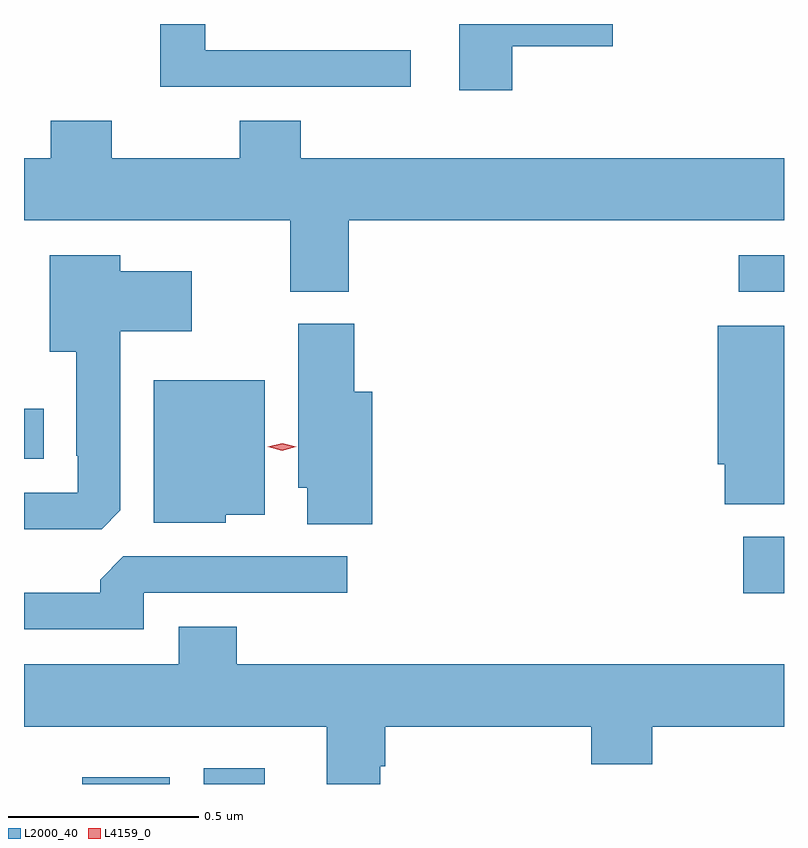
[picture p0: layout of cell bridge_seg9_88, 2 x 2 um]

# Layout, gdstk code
import gdstk
lib = gdstk.Library(unit=1e-6, precision=1e-09)
def R(c, l, rs):  # rectangles x0, y0, x1, y1
    for r in rs: c.add(gdstk.rectangle(r[:2], r[2:], *l))
def P(c, l, *ps):  # polygons
    for p in ps: c.add(gdstk.Polygon(p, *l))
L2000_40 = (2000, 40)
L4159_0 = (4159, 0)

bridge_seg9_88 = lib.new_cell('bridge_seg9_88')
R(bridge_seg9_88, L2000_40, [(816.795,1229.569,817.026,1229.587), (817.115,1229.569,817.276,1229.611), (818.535,1230.071,818.642,1230.22), (816.642,1230.425,816.694,1230.556), (818.523,1230.864,818.642,1230.96)])
P(bridge_seg9_88, L2000_40, [(817.66,1231.5),(817.119,1231.5),(817.119,1231.569),(817,1231.569),(817,1231.404),(817.66,1231.404)],
  [(817.927,1231.51),(818.191,1231.51),(818.191,1231.569),(817.787,1231.569),(817.787,1231.395),(817.927,1231.395)],
  [(817.496,1231.052),(818.642,1231.052),(818.642,1231.216),(817.37,1231.216),(817.37,1231.315),(817.21,1231.315),(817.21,1231.216),(816.873,1231.216),(816.873,1231.315),(816.713,1231.315),(816.713,1231.216),(816.642,1231.216),(816.642,1231.052),(817.343,1231.052),(817.343,1230.865),(817.496,1230.865)],
  [(816.895,1230.289),(816.895,1230.761),(817.084,1230.761),(817.084,1230.919),(816.895,1230.919),(816.895,1230.961),(816.71,1230.961),(816.71,1230.707),(816.779,1230.707),(816.779,1230.433),(816.783,1230.433),(816.783,1230.336),(816.642,1230.336),(816.642,1230.24),(816.846,1230.24)],
  [(817.559,1230.601),(817.511,1230.601),(817.511,1230.78),(817.364,1230.78),(817.364,1230.348),(817.388,1230.348),(817.388,1230.253),(817.559,1230.253)],
  [(818.642,1230.775),(818.468,1230.775),(818.468,1230.411),(818.486,1230.411),(818.486,1230.305),(818.642,1230.305)],
  [(817.173,1230.278),(817.276,1230.278),(817.276,1230.631),(816.983,1230.631),(816.983,1230.257),(817.173,1230.257)],
  [(816.957,1230.072),(817.492,1230.072),(817.492,1230.168),(816.903,1230.168),(816.842,1230.106),(816.842,1230.072),(816.642,1230.072),(816.642,1229.976),(816.957,1229.976)],
  [(817.579,1229.616),(817.592,1229.616),(817.592,1229.72),(818.135,1229.72),(818.135,1229.621),(818.295,1229.621),(818.295,1229.72),(818.642,1229.72),(818.642,1229.884),(817.202,1229.884),(817.202,1229.983),(817.049,1229.983),(817.049,1229.884),(816.642,1229.884),(816.642,1229.72),(817.439,1229.72),(817.439,1229.569),(817.579,1229.569)])
P(bridge_seg9_88, L4159_0, [(817.321,1230.446),(817.283,1230.456),(817.283,1230.456),(817.283,1230.456),(817.321,1230.466),(817.358,1230.456),(817.358,1230.456),(817.358,1230.456)])

lib.write_gds('bridge_seg9_88.gds')
